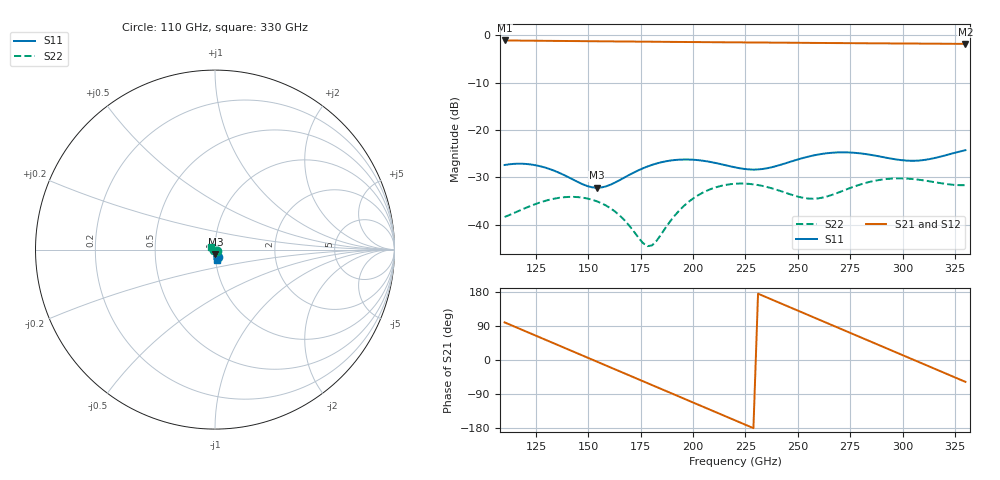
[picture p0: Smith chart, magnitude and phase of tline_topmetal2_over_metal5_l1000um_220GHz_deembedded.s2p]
! Created with skrf 2.0.1 (http://scikit-rf.org).
# GHz S DB R 50.0
!freq dBS11 angS11 dBS21 angS21 dBS12 angS12 dBS22 angS22
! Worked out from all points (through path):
!   101 points, 110 GHz to 330 GHz, reference 50 ohm
!   highest |S21| = -1.07 dB at 110 GHz (marker M1); lowest = -1.8 dB at 330 GHz (marker M2)
!   group delay of S21, straight-line fit = 6.53 ps
!   lowest |S11| = -32.2 dB at 154 GHz (marker M3), VSWR 1.05, Z = 50.2 - j2.45 ohm
!   |S11| at or under -10 dB: start of sweep to end of sweep
!   |S22| runs from -44.6 to -30.2 dB; largest |S21 - S12| = 1.5e-13
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110  -27.40 -68.1  -1.07 99.3  -1.07 99.3  -38.39 -32.6
118.8  -27.14 -80.8  -1.11 78.6  -1.11 78.6  -36.71 -33.3
127.6  -27.73 -91.8  -1.14 57.9  -1.14 57.9  -35.22 -40.8
138.6  -29.57 -99.4  -1.18 32.0  -1.18 32.0  -34.20 -57.9
147.4  -31.49 -95.1  -1.22 11.4  -1.22 11.4  -34.31 -76.1
154  -32.22 -84.1  -1.24 -4.2  -1.24 -4.2  -35.06 -92.3
165  -30.58 -67.6  -1.28 -30.0  -1.28 -30.0  -38.09 -126.8
178.2  -27.71 -68.5  -1.33 -61.0  -1.33 -61.0  -44.55 144.4
184.8  -26.82 -73.4  -1.36 -76.5  -1.36 -76.5  -42.02 79.4
200.2  -26.29 -86.5  -1.41 -112.7  -1.41 -112.7  -34.42 7.2
211.2  -27.01 -92.4  -1.45 -138.5  -1.45 -138.5  -32.07 -29.6
220  -27.89 -91.7  -1.47 -159.2  -1.47 -159.2  -31.36 -58.8
228.8  -28.37 -85.7  -1.50 -179.9  -1.50 -179.9  -31.49 -89.6
237.6  -27.87 -78.5  -1.53 159.5  -1.53 159.5  -32.33 -124.0
257.4  -25.39 -78.3  -1.59 112.9  -1.59 112.9  -34.53 133.8
266.2  -24.81 -83.4  -1.62 92.3  -1.62 92.3  -33.73 83.0
275  -24.76 -88.8  -1.65 71.6  -1.65 71.6  -32.25 38.8
283.8  -25.18 -92.6  -1.67 50.9  -1.67 50.9  -31.02 0.3
294.8  -26.07 -92.4  -1.70 25.1  -1.70 25.1  -30.27 -44.5
303.6  -26.50 -87.4  -1.72 4.4  -1.72 4.4  -30.32 -80.7
312.4  -26.19 -80.9  -1.75 -16.3  -1.75 -16.3  -30.81 -119.4
330  -24.27 -77.7  -1.80 -57.6  -1.80 -57.6  -31.66 151.3
